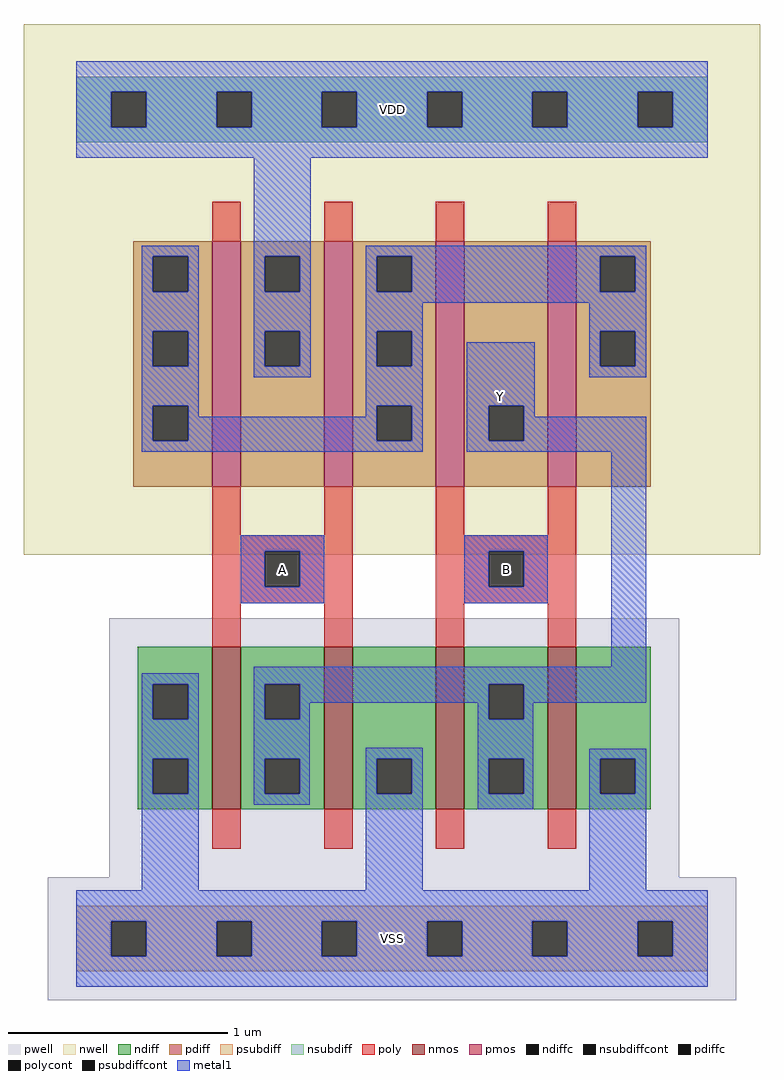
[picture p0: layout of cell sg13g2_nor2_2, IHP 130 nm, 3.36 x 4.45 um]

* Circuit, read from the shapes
.subckt sg13g2_nor2_2 A VDD Y VSS B
XM1 Y A VSS VSS sg13_lv_nmos w=0.74u l=0.13u m=2
XM2 Y B VSS VSS sg13_lv_nmos w=0.74u l=0.13u m=2
XM3 VDD A n1 VDD sg13_lv_pmos w=1.12u l=0.13u m=2
XM4 Y B n1 VDD sg13_lv_pmos w=1.12u l=0.13u m=2
.ends

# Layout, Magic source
magic
tech ihp-sg13g2
magscale 1 2
<< nwell >>
rect -48 350 624 834
<< pwell >>
rect 30 56 550 292
rect -26 -56 602 56
<< nmos >>
rect 124 118 150 266
rect 226 118 252 266
rect 328 118 354 266
rect 430 118 456 266
<< pmos >>
rect 124 412 150 636
rect 226 412 252 636
rect 328 412 354 636
rect 430 412 456 636
<< ndiff >>
rect 56 232 124 266
rect 56 200 70 232
rect 102 200 124 232
rect 56 164 124 200
rect 56 132 70 164
rect 102 132 124 164
rect 56 118 124 132
rect 150 232 226 266
rect 150 200 172 232
rect 204 200 226 232
rect 150 164 226 200
rect 150 132 172 164
rect 204 132 226 164
rect 150 118 226 132
rect 252 164 328 266
rect 252 132 274 164
rect 306 132 328 164
rect 252 118 328 132
rect 354 232 430 266
rect 354 200 376 232
rect 408 200 430 232
rect 354 164 430 200
rect 354 132 376 164
rect 408 132 430 164
rect 354 118 430 132
rect 456 164 524 266
rect 456 132 478 164
rect 510 132 524 164
rect 456 118 524 132
<< pdiff >>
rect 52 622 124 636
rect 52 590 70 622
rect 102 590 124 622
rect 52 554 124 590
rect 52 522 70 554
rect 102 522 124 554
rect 52 486 124 522
rect 52 454 70 486
rect 102 454 124 486
rect 52 412 124 454
rect 150 622 226 636
rect 150 590 172 622
rect 204 590 226 622
rect 150 554 226 590
rect 150 522 172 554
rect 204 522 226 554
rect 150 412 226 522
rect 252 622 328 636
rect 252 590 274 622
rect 306 590 328 622
rect 252 554 328 590
rect 252 522 274 554
rect 306 522 328 554
rect 252 486 328 522
rect 252 454 274 486
rect 306 454 328 486
rect 252 412 328 454
rect 354 486 430 636
rect 354 454 376 486
rect 408 454 430 486
rect 354 412 430 454
rect 456 622 524 636
rect 456 590 478 622
rect 510 590 524 622
rect 456 554 524 590
rect 456 522 478 554
rect 510 522 524 554
rect 456 412 524 522
<< ndiffc >>
rect 70 200 102 232
rect 70 132 102 164
rect 172 200 204 232
rect 172 132 204 164
rect 274 132 306 164
rect 376 200 408 232
rect 376 132 408 164
rect 478 132 510 164
<< pdiffc >>
rect 70 590 102 622
rect 70 522 102 554
rect 70 454 102 486
rect 172 590 204 622
rect 172 522 204 554
rect 274 590 306 622
rect 274 522 306 554
rect 274 454 306 486
rect 376 454 408 486
rect 478 590 510 622
rect 478 522 510 554
<< psubdiff >>
rect 0 16 576 30
rect 0 -16 32 16
rect 64 -16 128 16
rect 160 -16 224 16
rect 256 -16 320 16
rect 352 -16 416 16
rect 448 -16 512 16
rect 544 -16 576 16
rect 0 -30 576 -16
<< nsubdiff >>
rect 0 772 576 786
rect 0 740 32 772
rect 64 740 128 772
rect 160 740 224 772
rect 256 740 320 772
rect 352 740 416 772
rect 448 740 512 772
rect 544 740 576 772
rect 0 726 576 740
<< psubdiffcont >>
rect 32 -16 64 16
rect 128 -16 160 16
rect 224 -16 256 16
rect 320 -16 352 16
rect 416 -16 448 16
rect 512 -16 544 16
<< nsubdiffcont >>
rect 32 740 64 772
rect 128 740 160 772
rect 224 740 256 772
rect 320 740 352 772
rect 416 740 448 772
rect 512 740 544 772
<< poly >>
rect 124 636 150 672
rect 226 636 252 672
rect 328 636 354 672
rect 430 636 456 672
rect 124 368 150 412
rect 226 368 252 412
rect 124 353 252 368
rect 124 321 172 353
rect 204 321 252 353
rect 124 306 252 321
rect 124 266 150 306
rect 226 266 252 306
rect 328 368 354 412
rect 430 368 456 412
rect 328 353 456 368
rect 328 321 376 353
rect 408 321 456 353
rect 328 306 456 321
rect 328 266 354 306
rect 430 266 456 306
rect 124 82 150 118
rect 226 82 252 118
rect 328 82 354 118
rect 430 82 456 118
<< polycont >>
rect 172 321 204 353
rect 376 321 408 353
<< metal1 >>
rect 0 772 576 800
rect 0 740 32 772
rect 64 740 128 772
rect 160 740 224 772
rect 256 740 320 772
rect 352 740 416 772
rect 448 740 512 772
rect 544 740 576 772
rect 0 712 576 740
rect 60 622 112 632
rect 60 590 70 622
rect 102 590 112 622
rect 60 554 112 590
rect 60 522 70 554
rect 102 522 112 554
rect 60 486 112 522
rect 162 622 214 712
rect 162 590 172 622
rect 204 590 214 622
rect 162 554 214 590
rect 162 522 172 554
rect 204 522 214 554
rect 162 512 214 522
rect 264 622 520 632
rect 264 590 274 622
rect 306 590 478 622
rect 510 590 520 622
rect 264 580 520 590
rect 264 554 316 580
rect 264 522 274 554
rect 306 522 316 554
rect 468 554 520 580
rect 60 454 70 486
rect 102 476 112 486
rect 264 486 316 522
rect 264 476 274 486
rect 102 454 274 476
rect 306 454 316 486
rect 60 444 316 454
rect 356 486 418 544
rect 468 522 478 554
rect 510 522 520 554
rect 468 512 520 522
rect 356 454 376 486
rect 408 476 418 486
rect 408 454 520 476
rect 356 444 520 454
rect 150 353 226 368
rect 150 321 172 353
rect 204 321 226 353
rect 150 306 226 321
rect 354 353 430 368
rect 354 321 376 353
rect 408 321 430 353
rect 354 306 430 321
rect 488 248 520 444
rect 60 232 112 242
rect 60 200 70 232
rect 102 200 112 232
rect 60 164 112 200
rect 60 132 70 164
rect 102 132 112 164
rect 60 44 112 132
rect 162 232 520 248
rect 162 200 172 232
rect 204 215 376 232
rect 204 200 213 215
rect 162 164 213 200
rect 366 200 376 215
rect 408 215 520 232
rect 408 200 417 215
rect 162 132 172 164
rect 204 132 213 164
rect 162 122 213 132
rect 264 164 316 174
rect 264 132 274 164
rect 306 132 316 164
rect 264 44 316 132
rect 366 164 417 200
rect 366 132 376 164
rect 408 132 417 164
rect 366 118 417 132
rect 468 164 520 173
rect 468 132 478 164
rect 510 132 520 164
rect 468 44 520 132
rect 0 16 576 44
rect 0 -16 32 16
rect 64 -16 128 16
rect 160 -16 224 16
rect 256 -16 320 16
rect 352 -16 416 16
rect 448 -16 512 16
rect 544 -16 576 16
rect 0 -44 576 -16
<< labels >>
flabel metal1 s 150 306 226 368 0 FreeSans 400 0 0 0 A
port 2 nsew
flabel metal1 s 0 712 576 800 0 FreeSans 400 0 0 0 VDD
port 3 nsew
flabel metal1 s 356 444 418 544 0 FreeSans 400 0 0 0 Y
port 4 nsew
flabel metal1 s 0 -44 576 44 0 FreeSans 400 0 0 0 VSS
port 5 nsew
flabel metal1 s 354 306 430 368 0 FreeSans 400 0 0 0 B
port 6 nsew
<< properties >>
string FIXED_BBOX 0 0 576 756
<< end >>
